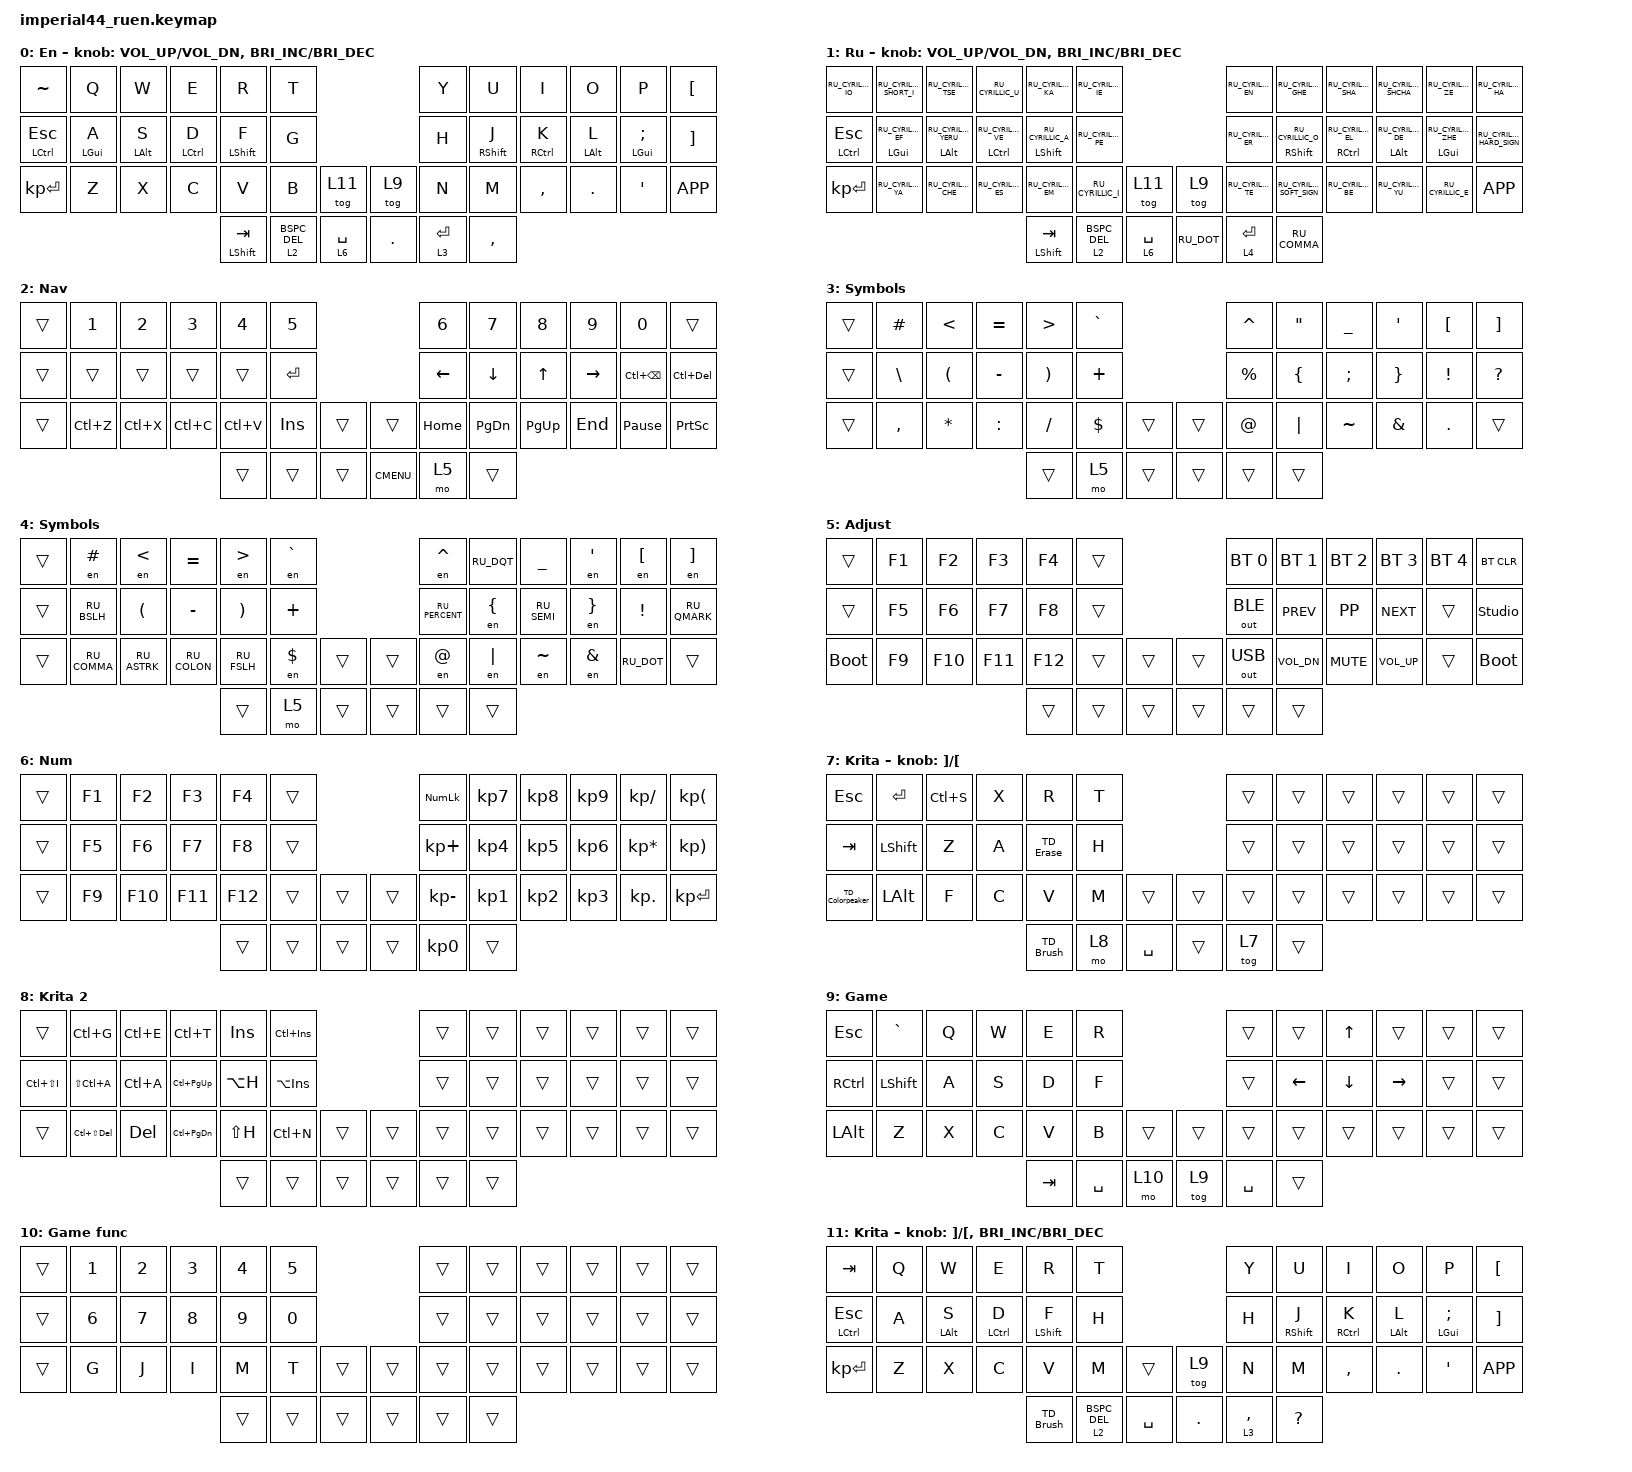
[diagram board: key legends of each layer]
#include "keys_ru.h"
#include <behaviors.dtsi>
#include <dt-bindings/zmk/bt.h>
#include <dt-bindings/zmk/keys.h>
#include <dt-bindings/zmk/outputs.h>

/ {
    behaviors {
        hrml: hrml {
            compatible = "zmk,behavior-hold-tap";
            label = "HRML";
            bindings = <&kp>, <&kp>;

            #binding-cells = <2>;
            tapping-term-ms = <175>;
            quick-tap-ms = <175>;
            require-prior-idle-ms = <100>;
            flavor = "balanced";
            hold-trigger-on-release;
            hold-trigger-key-positions = <6 7 8 9 10 11 18 19 20 21 22 23 30 31 32 33 34 35 42 43 44 45 41>;
        };

        hrmr: hrmr {
            compatible = "zmk,behavior-hold-tap";
            label = "HRMR";
            bindings = <&kp>, <&kp>;

            #binding-cells = <2>;
            tapping-term-ms = <175>;
            quick-tap-ms = <175>;
            require-prior-idle-ms = <100>;
            flavor = "balanced";
            hold-trigger-on-release;
            hold-trigger-key-positions = <0 1 2 3 4 5 12 13 14 15 16 17 24 25 26 27 28 29 36 37 38 39 40>;
        };

        TD_Brush: TD_Brush {
            compatible = "zmk,behavior-tap-dance";
            label = "TD_BRUSH";
            #binding-cells = <0>;
            bindings = <&kp B>, <&kp Q>;
        };

        TD_Erase: TD_Erase {
            compatible = "zmk,behavior-tap-dance";
            label = "TD_ERASE";
            #binding-cells = <0>;
            bindings = <&kp E>, <&kp LA(E)>;
        };

        TD_Colorpeaker: TD_Colorpeaker {
            compatible = "zmk,behavior-tap-dance";
            label = "TD_COLORPEAKER";
            #binding-cells = <0>;
            bindings = <&kp LCTRL>, <&kp LA(LCTRL)>;
        };

        BSPC_DEL: BSPC_DEL {
            compatible = "zmk,behavior-mod-morph";
            label = "BSPC_DEL";
            bindings = <&kp BSPC>, <&kp DEL>;

            #binding-cells = <0>;
            mods = <(MOD_LSFT|MOD_RSFT)>;
        };

        BCSP_DEL_NAV: BCSP_DEL_NAV {
            compatible = "zmk,behavior-hold-tap";
            label = "BCSP_DEL_NAV";
            bindings = <&mo>, <&BSPC_DEL>;

            #binding-cells = <2>;
            tapping-term-ms = <150>;
            hold-trigger-key-positions = <39>;
            quick-tap-ms = <125>;
            require-prior-idle-ms = <100>;
        };
    };

    combos {
        compatible = "zmk,combos";

        cmben {
            bindings = <&layer_en>;
            key-positions = <4 3>;
            layers = <1>;
        };

        cmbru {
            bindings = <&layer_ru>;
            key-positions = <3 4>;
            layers = <0>;
        };

        ensycn {
            bindings = <&to 1>;
            key-positions = <8 7>;
            layers = <0>;
        };

        SemiEN {
            bindings = <&kp SEMI>;
            key-positions = <42 41>;
            layers = <0>;
        };

        SemiRU {
            bindings = <&kp RU_SEMI>;
            key-positions = <42 41>;
            layers = <1>;
        };

        rusync {
            bindings = <&to 0>;
            key-positions = <8 7>;
            layers = <1>;
        };

        Game_G {
            bindings = <&kp G>;
            key-positions = <5 17>;
            layers = <9>;
        };

        Game_I {
            bindings = <&kp I>;
            key-positions = <5 4>;
            layers = <9>;
        };

        Game_M {
            bindings = <&kp M>;
            key-positions = <17 29>;
            layers = <9>;
        };

        Question {
            bindings = <&kp QUESTION>;
            key-positions = <43 42>;
            layers = <0>;
        };

        QUESTION_RU {
            bindings = <&kp RU_QUESTION>;
            key-positions = <43 42>;
        };
    };

    macros {
        to_ru: to_ru {
            compatible = "zmk,behavior-macro";
            #binding-cells = <0>;
            bindings = <&kp LG(SPACE)>;
            label = "TO_RU";
            wait-ms = <0>;
            tap-ms = <30>;
        };

        to_en: to_en {
            compatible = "zmk,behavior-macro";
            #binding-cells = <0>;
            bindings = <&kp LG(SPACE)>;
            label = "TO_EN";
            wait-ms = <0>;
            tap-ms = <30>;
        };

        layer_en: layer_en {
            compatible = "zmk,behavior-macro";
            #binding-cells = <0>;
            bindings = <&to 0 &to_en>;
            label = "LAYER_EN";
            wait-ms = <0>;
            tap-ms = <30>;
        };

        layer_ru: layer_ru {
            compatible = "zmk,behavior-macro";
            #binding-cells = <0>;
            bindings = <&to 1 &to_ru>;
            label = "LAYER_RU";
            tap-ms = <30>;
            wait-ms = <0>;
        };

        en: en {
            compatible = "zmk,behavior-macro-one-param";
            #binding-cells = <1>;
            bindings =
                <&to_en>,
                <&macro_press>,
                <&macro_param_1to1 &kp MACRO_PLACEHOLDER>,
                <&macro_pause_for_release>,
                <&macro_release>,
                <&macro_param_1to1 &kp MACRO_PLACEHOLDER>,
                <&macro_tap>,
                <&to_ru>;

            label = "EN";
            wait-ms = <0>;
            tap-ms = <30>;
        };
    };

    keymap {
        compatible = "zmk,keymap";

        en {
            bindings = <
&kp TILDE      &kp Q             &kp W             &kp E          &kp R               &kp T                                      &kp Y        &kp U                &kp I          &kp O             &kp P                &kp LEFT_BRACKET
&mt LCTRL ESC  &hrml LEFT_GUI A  &hrml LEFT_ALT S  &hrml LCTRL D  &hrml LEFT_SHIFT F  &kp G                                      &kp H        &hrmr RIGHT_SHIFT J  &hrmr RCTRL K  &hrmr LEFT_ALT L  &hrmr LEFT_GUI SEMI  &kp RBKT
&kp KP_ENTER   &kp Z             &kp X             &kp C          &kp V               &kp B              &tog 11        &tog 9   &kp N        &kp M                &kp COMMA      &kp DOT           &kp SQT              &kp K_APP
                                                                  &mt LEFT_SHIFT TAB  &BCSP_DEL_NAV 2 0  &lt 6 SPACE    &kp DOT  &lt 3 ENTER  &kp COMMA
            >;

            display-name = "En";
            sensor-bindings =
                <&inc_dec_kp C_VOL_UP C_VOL_DN>,
                <&inc_dec_kp C_BRIGHTNESS_INC C_BRIGHTNESS_DEC>;
        };

        ru {
            bindings = <
&kp RU_CYRILLIC_IO  &kp RU_CYRILLIC_SHORT_I        &kp RU_CYRILLIC_TSE              &kp RU_CYRILLIC_U           &kp RU_CYRILLIC_KA              &kp RU_CYRILLIC_IE                             &kp RU_CYRILLIC_EN  &kp RU_CYRILLIC_GHE         &kp RU_CYRILLIC_SHA         &kp RU_CYRILLIC_SHCHA          &kp RU_CYRILLIC_ZE          &kp RU_CYRILLIC_HA
&mt LCTRL ESC       &hrml LEFT_GUI RU_CYRILLIC_EF  &hrml LEFT_ALT RU_CYRILLIC_YERU  &hrml LCTRL RU_CYRILLIC_VE  &hrml LEFT_SHIFT RU_CYRILLIC_A  &kp RU_CYRILLIC_PE                             &kp RU_CYRILLIC_ER  &hrmr RSHIFT RU_CYRILLIC_O  &hrmr RCTRL RU_CYRILLIC_EL  &hrmr LEFT_ALT RU_CYRILLIC_DE  &hrmr LGUI RU_CYRILLIC_ZHE  &kp RU_CYRILLIC_HARD_SIGN
&kp KP_ENTER        &kp RU_CYRILLIC_YA             &kp RU_CYRILLIC_CHE              &kp RU_CYRILLIC_ES          &kp RU_CYRILLIC_EM              &kp RU_CYRILLIC_I   &tog 11        &tog 9      &kp RU_CYRILLIC_TE  &kp RU_CYRILLIC_SOFT_SIGN   &kp RU_CYRILLIC_BE          &kp RU_CYRILLIC_YU             &kp RU_CYRILLIC_E           &kp K_APP
                                                                                                                &mt LEFT_SHIFT TAB              &BCSP_DEL_NAV 2 0   &lt 6 SPACE    &kp RU_DOT  &lt 4 ENTER         &kp RU_COMMA
            >;

            display-name = "Ru";
            sensor-bindings =
                <&inc_dec_kp C_VOL_UP C_VOL_DN>,
                <&inc_dec_kp C_BRIGHTNESS_INC C_BRIGHTNESS_DEC>;
        };

        nav {
            bindings = <
&trans  &kp N1     &kp N2     &kp N3     &kp N4     &kp N5                          &kp NUMBER_6  &kp NUMBER_7   &kp NUMBER_8  &kp N9     &kp N0             &trans
&trans  &trans     &trans     &trans     &trans     &kp RET                         &kp LEFT      &kp DOWN       &kp UP        &kp RIGHT  &kp LC(BACKSPACE)  &kp LC(DEL)
&trans  &kp LC(Z)  &kp LC(X)  &kp LC(C)  &kp LC(V)  &kp INS  &trans    &trans       &kp HOME      &kp PAGE_DOWN  &kp PG_UP     &kp END    &kp PAUSE_BREAK    &kp PRINTSCREEN
                                         &trans     &trans   &trans    &kp K_CMENU  &mo 5         &trans
            >;

            display-name = "Nav";
        };

        sym_en {
            bindings = <
&trans  &kp HASH   &kp LT    &kp EQUAL  &kp GT    &kp GRAVE                    &kp CARET  &kp DQT   &kp UNDER  &kp SQT   &kp LBKT  &kp RBKT
&trans  &kp BSLH   &kp LPAR  &kp MINUS  &kp RPAR  &kp PLUS                     &kp PRCNT  &kp LBRC  &kp SEMI   &kp RBRC  &kp EXCL  &kp QMARK
&trans  &kp COMMA  &kp STAR  &kp COLON  &kp FSLH  &kp DLLR   &trans    &trans  &kp AT     &kp PIPE  &kp TILDE  &kp AMPS  &kp DOT   &trans
                                        &trans    &mo 5      &trans    &trans  &trans     &trans
            >;

            display-name = "Symbols";
        };

        sym_ru {
            bindings = <
&trans  &en HASH      &en LT        &kp EQUAL     &en GT       &en GRAVE                    &en CARET       &kp RU_DQT  &kp UNDER    &en SQT   &en LBKT    &en RBKT
&trans  &kp RU_BSLH   &kp LPAR      &kp MINUS     &kp RPAR     &kp PLUS                     &kp RU_PERCENT  &en LBRC    &kp RU_SEMI  &en RBRC  &kp EXCL    &kp RU_QMARK
&trans  &kp RU_COMMA  &kp RU_ASTRK  &kp RU_COLON  &kp RU_FSLH  &en DLLR   &trans    &trans  &en AT          &en PIPE    &en TILDE    &en AMPS  &kp RU_DOT  &trans
                                                  &trans       &mo 5      &trans    &trans  &trans          &trans
            >;

            display-name = "Symbols";
        };

        adj {
            bindings = <
&trans       &kp F1  &kp F2   &kp F3   &kp F4   &trans                    &bt BT_SEL 0  &bt BT_SEL 1  &bt BT_SEL 2  &bt BT_SEL 3  &bt BT_SEL 4  &bt BT_CLR
&trans       &kp F5  &kp F6   &kp F7   &kp F8   &trans                    &out OUT_BLE  &kp K_PREV    &kp K_PP      &kp K_NEXT    &trans        &studio_unlock
&bootloader  &kp F9  &kp F10  &kp F11  &kp F12  &trans  &trans    &trans  &out OUT_USB  &kp C_VOL_DN  &kp K_MUTE    &kp C_VOL_UP  &trans        &bootloader
                                       &trans   &trans  &trans    &trans  &trans        &trans
            >;

            display-name = "Adjust";
        };

        NUM_PAD {
            bindings = <
&trans  &kp F1  &kp F2   &kp F3   &kp F4   &trans                    &kp KP_NUMLOCK   &kp KP_N7  &kp KP_N8  &kp KP_N9  &kp KP_SLASH     &kp KP_LPAR
&trans  &kp F5  &kp F6   &kp F7   &kp F8   &trans                    &kp KP_PLUS      &kp KP_N4  &kp KP_N5  &kp KP_N6  &kp KP_MULTIPLY  &kp KP_RPAR
&trans  &kp F9  &kp F10  &kp F11  &kp F12  &trans  &trans    &trans  &kp KP_MINUS     &kp KP_N1  &kp KP_N2  &kp KP_N3  &kp KP_DOT       &kp KP_ENTER
                                  &trans   &trans  &trans    &trans  &kp KP_NUMBER_0  &trans
            >;

            display-name = "Num";
        };

        Krita1 {
            bindings = <
&kp ESC          &kp RET    &kp LC(S)  &kp X  &kp R      &kp T                       &trans  &trans  &trans  &trans  &trans  &trans
&kp TAB          &kp LSHFT  &kp Z      &kp A  &TD_Erase  &kp H                       &trans  &trans  &trans  &trans  &trans  &trans
&TD_Colorpeaker  &kp LALT   &kp F      &kp C  &kp V      &kp M  &trans       &trans  &trans  &trans  &trans  &trans  &trans  &trans
                                              &TD_Brush  &mo 8  &kp SPACE    &trans  &tog 7  &trans
            >;

            display-name = "Krita";
            sensor-bindings = <&inc_dec_kp RBKT LBKT>;
        };

        Krita2 {
            bindings = <
&trans         &kp LC(G)           &kp LC(E)   &kp LC(T)      &kp INS    &kp LC(INS)                    &trans  &trans  &trans  &trans  &trans  &trans
&kp LC(LS(I))  &kp LS(LC(A))       &kp LC(A)   &kp LC(PG_UP)  &kp LA(H)  &kp LA(INS)                    &trans  &trans  &trans  &trans  &trans  &trans
&trans         &kp LC(LS(DELETE))  &kp DELETE  &kp LC(PG_DN)  &kp LS(H)  &kp LC(N)    &trans    &trans  &trans  &trans  &trans  &trans  &trans  &trans
                                                              &trans     &trans       &trans    &trans  &trans  &trans
            >;

            display-name = "Krita 2";
        };

        GameBase {
            bindings = <
&kp ESC    &kp GRAVE       &kp Q  &kp W  &kp E    &kp R                        &trans     &trans    &kp UP    &trans     &trans  &trans
&kp RCTRL  &kp LEFT_SHIFT  &kp A  &kp S  &kp D    &kp F                        &trans     &kp LEFT  &kp DOWN  &kp RIGHT  &trans  &trans
&kp LALT   &kp Z           &kp X  &kp C  &kp V    &kp B      &trans    &trans  &trans     &trans    &trans    &trans     &trans  &trans
                                         &kp TAB  &kp SPACE  &mo 10    &tog 9  &kp SPACE  &trans
            >;

            display-name = "Game";
        };

        GameFunc {
            bindings = <
&trans  &kp N1  &kp N2  &kp N3  &kp N4  &kp N5                    &trans  &trans  &trans  &trans  &trans  &trans
&trans  &kp N6  &kp N7  &kp N8  &kp N9  &kp N0                    &trans  &trans  &trans  &trans  &trans  &trans
&trans  &kp G   &kp J   &kp I   &kp M   &kp T   &trans    &trans  &trans  &trans  &trans  &trans  &trans  &trans
                                &trans  &trans  &trans    &trans  &trans  &trans
            >;

            display-name = "Game func";
        };

        KritaTest {
            display-name = "Krita";
            bindings = <
&kp TAB        &kp Q  &kp W             &kp E          &kp R               &kp T                                    &kp Y        &kp U                &kp I          &kp O             &kp P                &kp LEFT_BRACKET
&mt LCTRL ESC  &kp A  &hrml LEFT_ALT S  &hrml LCTRL D  &hrml LEFT_SHIFT F  &kp H                                    &kp H        &hrmr RIGHT_SHIFT J  &hrmr RCTRL K  &hrmr LEFT_ALT L  &hrmr LEFT_GUI SEMI  &kp RBKT
&kp KP_ENTER   &kp Z  &kp X             &kp C          &kp V               &kp M              &trans       &tog 9   &kp N        &kp M                &kp COMMA      &kp DOT           &kp SQT              &kp K_APP
                                                       &TD_Brush           &BCSP_DEL_NAV 2 0  &kp SPACE    &kp DOT  &lt 3 COMMA  &kp QUESTION
            >;

            sensor-bindings =
                <&inc_dec_kp RBKT LBKT>,
                <&inc_dec_kp C_BRIGHTNESS_INC C_BRIGHTNESS_DEC>;
        };
    };
};
